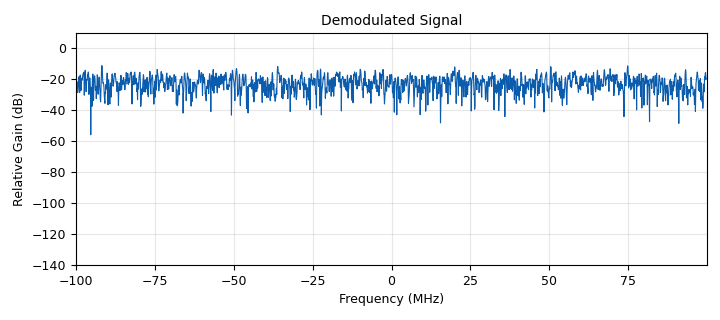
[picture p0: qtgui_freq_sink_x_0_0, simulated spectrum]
options:
  parameters:
    author: Ben Cometto
    generate_options: qt_gui
    id: fmcw_sim
    output_language: python
    title: LFMCW Radar Simulation
  states: {}

blocks:
- name: alpha
  id: variable
  parameters:
    value: (max_freq-min_freq)/t_chirp
  states: {}
- name: c
  id: variable
  parameters:
    value: '300000000'
  states: {}
- name: dec_lpf_taps
  id: variable_low_pass_filter_taps
  parameters:
    cutoff_freq: int(samp_rate/decimation)
    gain: '1.0'
    samp_rate: samp_rate
    width: samp_rate*0.1
    win: window.WIN_HAMMING
  states: {}
- name: decimation
  id: variable
  parameters:
    value: round(samp_rate/max_fbeat)
  states: {}
- name: delay_samples
  id: variable
  parameters:
    value: int(delay_time*samp_rate)
  states: {}
- name: delay_time
  id: variable
  parameters:
    value: 2*distance_m/c
  states: {}
- name: df
  id: variable
  parameters:
    value: samp_rate/k_bins
  states: {}
- name: distance_m
  id: variable
  parameters:
    value: '100'
  states: {state: disabled}
- name: distance_m
  id: variable_qtgui_range
  parameters:
    label: Object Distance
    start: '0'
    step: '0.25'
    stop: distance_max_m
    value: '100'
  states: {}
- name: distance_max_m
  id: variable
  parameters:
    value: '200'
  states: {}
- name: distance_per_sample
  id: variable
  parameters:
    value: c/samp_rate
  states: {}
- name: f_b_ideal
  id: variable
  parameters:
    value: 2*distance_m*alpha/c
  states: {}
- name: k_bins
  id: variable
  parameters:
    value: 2**14
  states: {}
- name: max_distance
  id: variable
  parameters:
    value: min(30,t_chirp*c)
  states: {}
- name: max_fbeat
  id: variable
  parameters:
    value: max_distance*2*alpha/c
  states: {}
- name: max_freq
  id: variable
  parameters:
    value: samp_rate*0.95
  states: {}
- name: min_freq
  id: variable
  parameters:
    value: '-max_freq'
  states: {}
- name: noise_amplitude
  id: variable
  parameters:
    value: '0.8'
  states: {state: disabled}
- name: noise_amplitude
  id: variable_qtgui_range
  parameters:
    label: Noise Level
    start: '0'
    step: '0.1'
    stop: '10'
    value: '8.4'
  states: {}
- name: reflection_amplitude
  id: variable
  parameters:
    value: '0.75'
  states: {}
- name: samp_rate
  id: variable
  parameters:
    value: int(200e6)
  states: {}
- name: t_chirp
  id: variable
  parameters:
    value: '0.000005'
  states: {}
- name: analog_noise_source_x_0
  id: analog_noise_source_x
  parameters:
    amp: noise_amplitude
    noise_type: analog.GR_GAUSSIAN
    seed: '0'
    type: complex
  states: {}
- name: analog_sig_source_x_0
  id: analog_sig_source_x
  parameters:
    amp: '1'
    freq: 1/t_chirp
    offset: '0'
    phase: '0'
    samp_rate: samp_rate
    type: float
    waveform: analog.GR_SAW_WAVE
  states: {}
- name: blocks_add_const_vxx_0
  id: blocks_add_const_vxx
  parameters:
    const: min_freq
    type: float
  states: {}
- name: blocks_add_xx_0
  id: blocks_add_xx
  parameters:
    type: complex
  states: {}
- name: blocks_delay_0
  id: blocks_delay
  parameters:
    delay: delay_samples
    type: complex
  states: {}
- name: blocks_multiply_conjugate_cc_0
  id: blocks_multiply_conjugate_cc
  parameters: {}
  states: {}
- name: blocks_multiply_const_vxx_0
  id: blocks_multiply_const_vxx
  parameters:
    const: (max_freq-min_freq)
    type: float
  states: {}
- name: blocks_multiply_const_vxx_2
  id: blocks_multiply_const_vxx
  parameters:
    const: reflection_amplitude
    type: complex
  states: {}
- name: blocks_throttle2_0
  id: blocks_throttle2
  parameters:
    samples_per_second: samp_rate
    type: float
  states: {}
- name: blocks_vco_c_0
  id: blocks_vco_c
  parameters:
    amplitude: '1'
    samp_rate: samp_rate
    sensitivity: 2*np.pi
  states: {}
- name: fir_filter_xxx_0
  id: fir_filter_xxx
  parameters:
    decim: '1'
    taps: '1'
    type: ccc
  states: {}
- name: import_0
  id: import
  parameters:
    imports: import numpy as np
  states: {}
- name: qtgui_freq_sink_x_0_0
  id: qtgui_freq_sink_x
  parameters:
    bw: samp_rate
    fc: '0'
    fftsize: '2048'
    name: '"Demodulated Signal"'
    type: complex
  states: {}
- name: virtual_sink_0
  id: virtual_sink
  parameters:
    stream_id: tx
  states: {}
- name: virtual_source_0
  id: virtual_source
  parameters:
    stream_id: tx
  states: {}
- name: zeromq_pub_sink_0
  id: zeromq_pub_sink
  parameters:
    address: tcp://localhost:4444
    timeout: '100'
    type: complex
  states: {}

connections:
- [analog_noise_source_x_0, '0', blocks_add_xx_0, '1']
- [analog_sig_source_x_0, '0', blocks_throttle2_0, '0']
- [blocks_add_const_vxx_0, '0', blocks_vco_c_0, '0']
- [blocks_add_xx_0, '0', blocks_multiply_conjugate_cc_0, '1']
- [blocks_delay_0, '0', blocks_multiply_const_vxx_2, '0']
- [blocks_multiply_conjugate_cc_0, '0', fir_filter_xxx_0, '0']
- [blocks_multiply_conjugate_cc_0, '0', qtgui_freq_sink_x_0_0, '0']
- [blocks_multiply_const_vxx_0, '0', blocks_add_const_vxx_0, '0']
- [blocks_multiply_const_vxx_2, '0', blocks_add_xx_0, '0']
- [blocks_throttle2_0, '0', blocks_multiply_const_vxx_0, '0']
- [blocks_vco_c_0, '0', virtual_sink_0, '0']
- [fir_filter_xxx_0, '0', zeromq_pub_sink_0, '0']
- [virtual_source_0, '0', blocks_delay_0, '0']
- [virtual_source_0, '0', blocks_multiply_conjugate_cc_0, '0']

metadata:
  file_format: 1
  grc_version: 3.10.10.0
